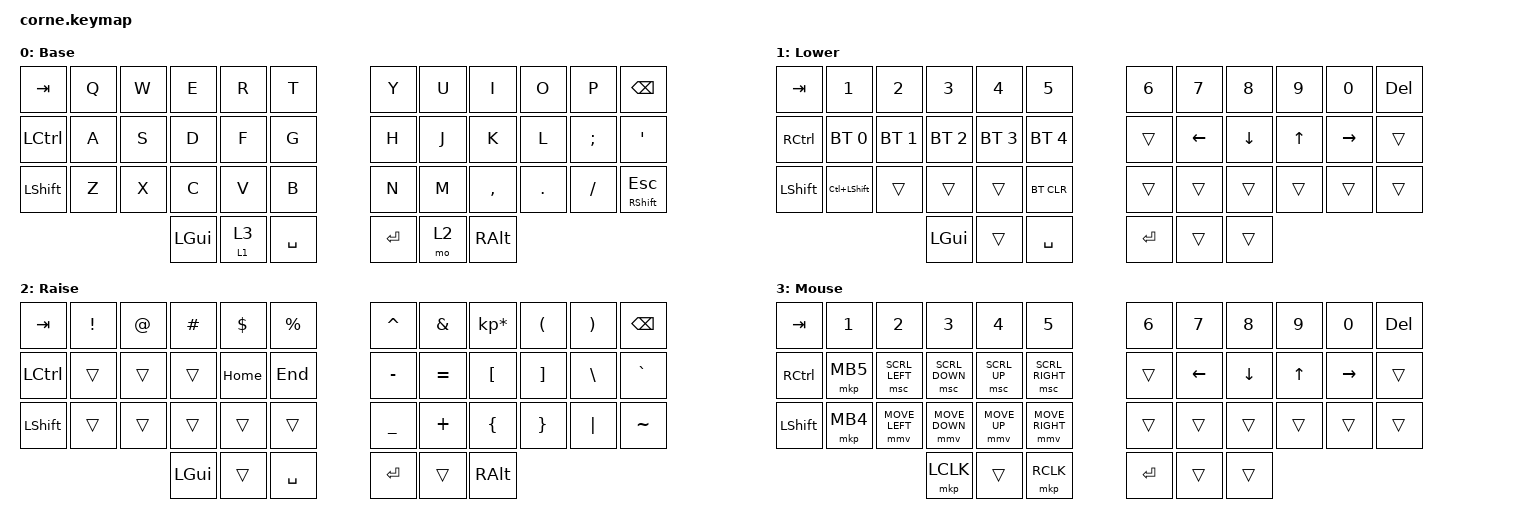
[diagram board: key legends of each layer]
/*
 * Copyright (c) 2020 The ZMK Contributors
 *
 * SPDX-License-Identifier: MIT
 */

#include <behaviors.dtsi>
#include <dt-bindings/zmk/bt.h>
#include <dt-bindings/zmk/keys.h>
#include <dt-bindings/zmk/pointing.h>

/ {
    behaviors {
        MouseLayerToggle: MouseLayerToggle {
            compatible = "zmk,behavior-hold-tap";
            label = "MOUSELAYERTOGGLE";
            bindings = <&mo>, <&tog>;

            #binding-cells = <2>;
            tapping-term-ms = <200>;
        };
    };

    keymap {
        compatible = "zmk,keymap";

        default_layer {
            // -----------------------------------------------------------------------------------------
            // |  TAB |  Q  |  W  |  E  |  R  |  T  |   |  Y  |  U   |  I  |  O  |  P  | BKSP |
            // | CTRL |  A  |  S  |  D  |  F  |  G  |   |  H  |  J   |  K  |  L  |  ;  |  '   |
            // | SHFT |  Z  |  X  |  C  |  V  |  B  |   |  N  |  M   |  ,  |  .  |  /  | ESC  |
            //                    | GUI | LWR | SPC |   | ENT | RSE  | ALT |

            display-name = "Base";
            bindings = <
&kp TAB    &kp Q  &kp W  &kp E     &kp R                  &kp T        &kp Y    &kp U  &kp I      &kp O    &kp P     &kp BSPC
&kp LCTRL  &kp A  &kp S  &kp D     &kp F                  &kp G        &kp H    &kp J  &kp K      &kp L    &kp SEMI  &kp SQT
&kp LSHFT  &kp Z  &kp X  &kp C     &kp V                  &kp B        &kp N    &kp M  &kp COMMA  &kp DOT  &kp FSLH  &mt RSHFT ESC
                         &kp LGUI  &MouseLayerToggle 1 3  &kp SPACE    &kp RET  &mo 2  &kp RALT
            >;
        };

        lower_layer {
            // -----------------------------------------------------------------------------------------
            // |  TAB |  1  |  2  |  3  |  4  |  5  |   |  6  |  7  |  8  |  9  |  0  | BKSP |
            // | BTCLR| BT1 | BT2 | BT3 | BT4 | BT5 |   | LFT | DWN |  UP | RGT |     |      |
            // | SHFT |     |     |     |     |     |   |     |     |     |     |     |      |
            //                    | GUI |     | SPC |   | ENT |     | ALT |

            display-name = "Lower";
            bindings = <
&kp TAB    &kp N1              &kp N2        &kp N3        &kp N4        &kp N5          &kp N6   &kp N7    &kp N8    &kp N9  &kp N0     &kp DEL
&kp RCTRL  &bt BT_SEL 0        &bt BT_SEL 1  &bt BT_SEL 2  &bt BT_SEL 3  &bt BT_SEL 4    &trans   &kp LEFT  &kp DOWN  &kp UP  &kp RIGHT  &trans
&kp LSHFT  &kp LC(LEFT_SHIFT)  &trans        &trans        &trans        &bt BT_CLR      &trans   &trans    &trans    &trans  &trans     &trans
                                             &kp LGUI      &trans        &kp SPACE       &kp RET  &trans    &trans
            >;
        };

        raise_layer {
            // -----------------------------------------------------------------------------------------
            // |  TAB |  !  |  @  |  #  |  $  |  %  |   |  ^  |  &  |  *  |  (  |  )  | BKSP |
            // | CTRL |     |     |     |     |     |   |  -  |  =  |  [  |  ]  |  \  |  `   |
            // | SHFT |     |     |     |     |     |   |  _  |  +  |  {  |  }  | "|" |  ~   |
            //                    | GUI |     | SPC |   | ENT |     | ALT |

            display-name = "Raise";
            bindings = <
&kp TAB    &kp EXCL  &kp AT  &kp HASH  &kp DLLR  &kp PRCNT    &kp CARET  &kp AMPS   &kp KP_MULTIPLY  &kp LPAR  &kp RPAR  &kp BSPC
&kp LCTRL  &trans    &trans  &trans    &kp HOME  &kp END      &kp MINUS  &kp EQUAL  &kp LBKT         &kp RBKT  &kp BSLH  &kp GRAVE
&kp LSHFT  &trans    &trans  &trans    &trans    &trans       &kp UNDER  &kp PLUS   &kp LBRC         &kp RBRC  &kp PIPE  &kp TILDE
                             &kp LGUI  &trans    &kp SPACE    &kp RET    &trans     &kp RALT
            >;
        };

        mouse_layer {
            // -----------------------------------------------------------------------------------------
            // |  TAB |  1  |  2  |  3  |  4  |  5  |   |  6  |  7  |  8  |  9  |  0  | BKSP |
            // | BTCLR| BT1 | BT2 | BT3 | BT4 | BT5 |   | LFT | DWN |  UP | RGT |     |      |
            // | SHFT |     |     |     |     |     |   |     |     |     |     |     |      |
            //                    | GUI |     | SPC |   | ENT |     | ALT |

            display-name = "Mouse";
            bindings = <
&kp TAB    &kp N1    &kp N2          &kp N3          &kp N4        &kp N5             &kp N6   &kp N7    &kp N8    &kp N9  &kp N0     &kp DEL
&kp RCTRL  &mkp MB5  &msc SCRL_LEFT  &msc SCRL_DOWN  &msc SCRL_UP  &msc SCRL_RIGHT    &trans   &kp LEFT  &kp DOWN  &kp UP  &kp RIGHT  &trans
&kp LSHFT  &mkp MB4  &mmv MOVE_LEFT  &mmv MOVE_DOWN  &mmv MOVE_UP  &mmv MOVE_RIGHT    &trans   &trans    &trans    &trans  &trans     &trans
                                     &mkp LCLK       &trans        &mkp RCLK          &kp RET  &trans    &trans
            >;

            label = "Mouse";
        };

        extra_2 { status = "reserved"; };

        extra_3 { status = "reserved"; };
    };
};
